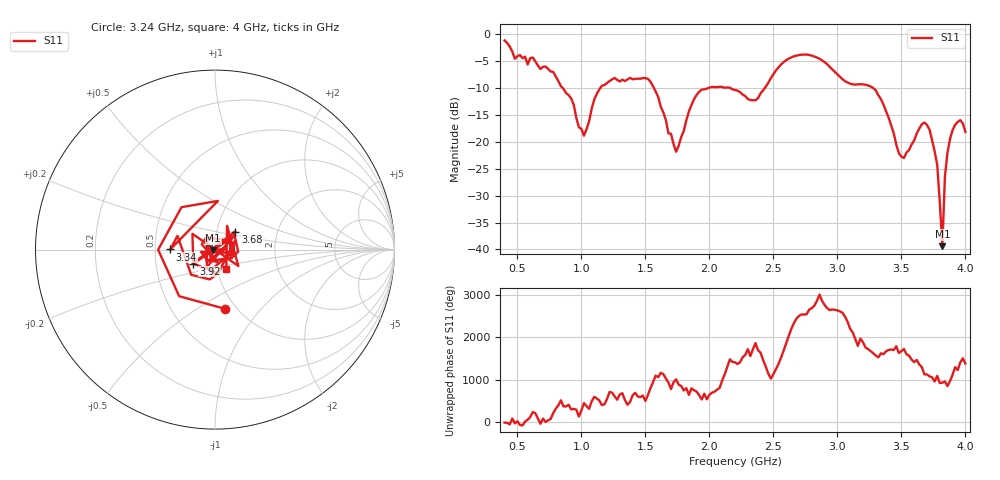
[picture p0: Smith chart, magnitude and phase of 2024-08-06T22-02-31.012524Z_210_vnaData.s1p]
!Created with skrf (http://scikit-rf.org).
# Hz S RI R 50.0
!freq ReS11 ImS11
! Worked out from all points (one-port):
!   181 points, 400 MHz to 4 GHz, reference 50 ohm
!   lowest |S11| = -39.4 dB at 3.82 GHz (marker M1), VSWR 1.02, Z = 49 - j0.443 ohm
!   |S11| at or under -10 dB: 854.6 MHz to 1.147 GHz (292.4 MHz wide, 29.2 % of centre); 1.567 GHz to 1.989 GHz (422.3 MHz wide, 23.7 % of centre); 3.281 GHz to end of sweep (the widest 3 of 4)
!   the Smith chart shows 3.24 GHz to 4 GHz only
!   S11 on the Smith chart (normalised r, x): 3.24 GHz: 0.89, -0.66; 3.34 GHz: 0.60, +0.00; 3.68 GHz: 1.23, +0.25; 3.92 GHz: 0.78, -0.12; 4 GHz: 1.11, -0.24
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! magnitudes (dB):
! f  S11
! 400 MHz  -1.1
! 480 MHz  -4.5
! 620 MHz  -4.3
! 860 MHz  -10.1
! 1.02 GHz  -18.8
! 1.14 GHz  -10.2
! 1.3 GHz  -8.8
! 1.52 GHz  -8.3
! 1.74 GHz  -21.8
! 1.76 GHz  -20.7
! 1.92 GHz  -10.7
! 2.2 GHz  -10.3
! 2.36 GHz  -12.3
! 2.66 GHz  -4.1
! 2.86 GHz  -4.5
! 3.1 GHz  -9.2
! 3.24 GHz  -9.5
! 3.34 GHz  -12.0
! 3.48 GHz  -22.1
! 3.56 GHz  -21.5
! 3.68 GHz  -16.4
! 3.72 GHz  -17.7
! 3.78 GHz  -24.3
! 3.82 GHz  -39.4
! 3.84 GHz  -26.4
! 3.88 GHz  -19.4
! 3.92 GHz  -16.8
! 4 GHz  -18.1
